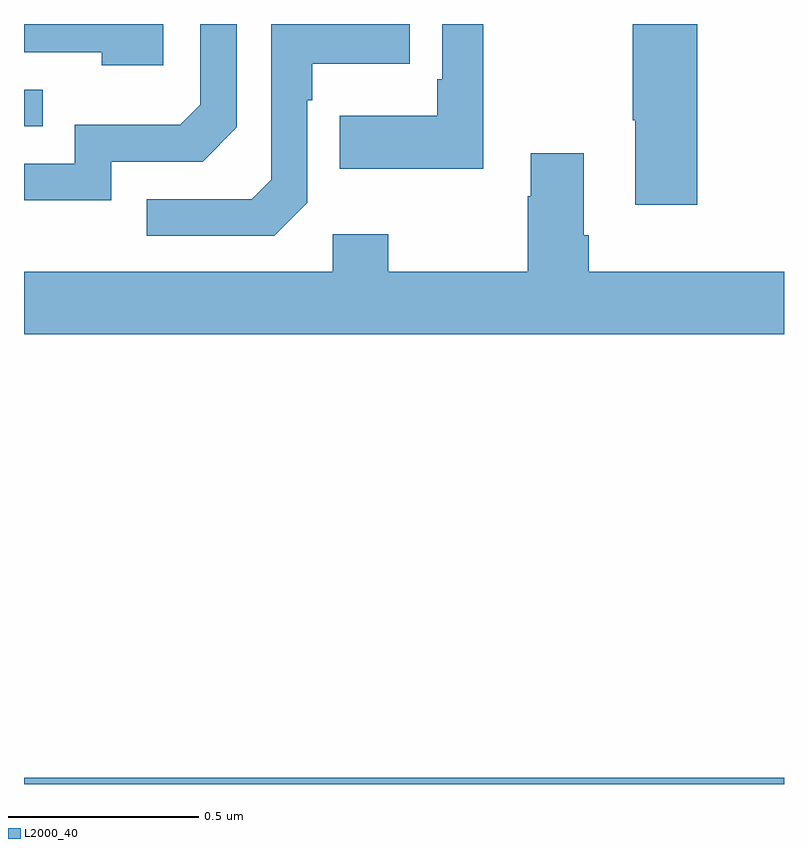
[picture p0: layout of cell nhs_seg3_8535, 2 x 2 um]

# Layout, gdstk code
import gdstk
lib = gdstk.Library(unit=1e-6, precision=1e-09)
def R(c, l, rs):  # rectangles x0, y0, x1, y1
    for r in rs: c.add(gdstk.rectangle(r[:2], r[2:], *l))
def P(c, l, *ps):  # polygons
    for p in ps: c.add(gdstk.Polygon(p, *l))
L2000_40 = (2000, 40)

nhs_seg3_8535 = lib.new_cell('nhs_seg3_8535')
R(nhs_seg3_8535, L2000_40, [(217,698.4,219,698.416), (217,700.131,217.049,700.227)])
P(nhs_seg3_8535, L2000_40, [(218.209,700.4),(218.1,700.4),(218.1,700.255),(218.088,700.255),(218.088,700.159),(217.831,700.159),(217.831,700.019),(218.209,700.019)],
  [(217.23,700.038),(217.47,700.038),(217.56,700.128),(217.56,700.4),(217.464,700.4),(217.464,700.188),(217.411,700.135),(217.134,700.135),(217.134,700.032),(217,700.032),(217,699.936),(217.23,699.936)],
  [(217.366,700.4),(217,700.4),(217,700.326),(217.205,700.326),(217.205,700.292),(217.366,700.292)],
  [(218.772,700.4),(218.602,700.4),(218.602,700.147),(218.609,700.147),(218.609,699.924),(218.772,699.924)],
  [(217.746,699.93),(217.746,700.199),(217.759,700.199),(217.759,700.295),(218.015,700.295),(218.015,700.4),(217.65,700.4),(217.65,699.99),(217.599,699.939),(217.323,699.939),(217.323,699.843),(217.659,699.843)],
  [(219,699.748),(218.486,699.748),(218.486,699.844),(218.473,699.844),(218.473,700.06),(218.333,700.06),(218.333,699.947),(218.326,699.947),(218.326,699.748),(217.959,699.748),(217.959,699.847),(217.812,699.847),(217.812,699.748),(217,699.748),(217,699.584),(219,699.584)])

lib.write_gds('nhs_seg3_8535.gds')
